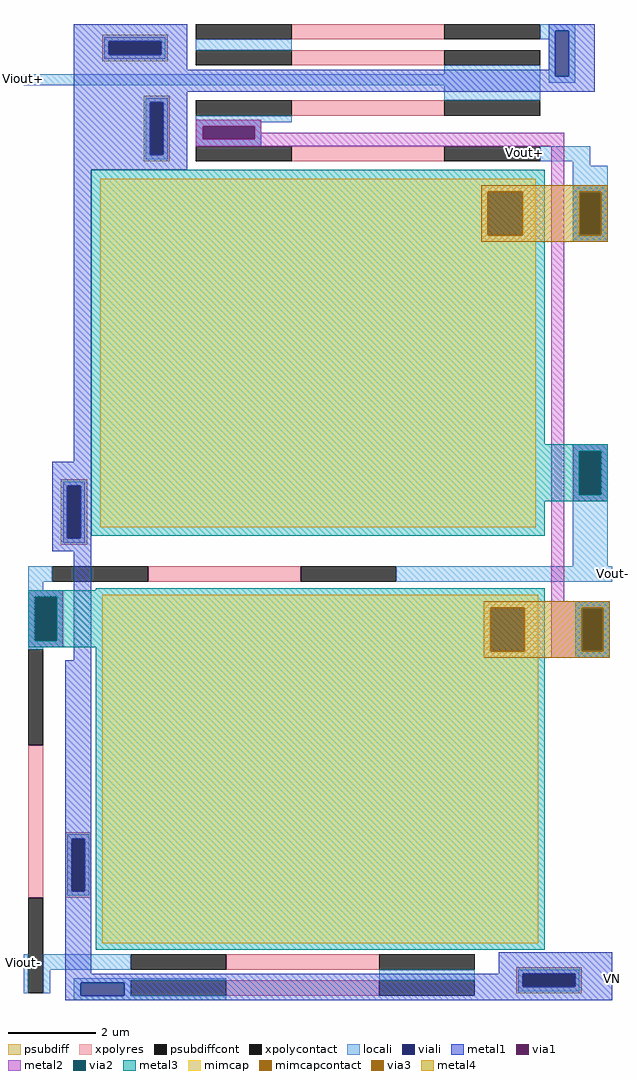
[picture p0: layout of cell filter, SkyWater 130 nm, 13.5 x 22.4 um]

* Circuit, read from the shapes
.subckt filter VN Viout+ Viout- Vout+ Vout-
XC1 Vout+ Vout- sky130_fd_pr__cap_mim_m3_1 w=10 l=8
XC2 n1 n2 sky130_fd_pr__cap_mim_m3_1 w=10 l=8
XR3 n2 Viout- VN sky130_fd_pr__res_xhigh_po w=0.35 l=3.5
XR4 Vout- n2 VN sky130_fd_pr__res_xhigh_po w=0.35 l=3.5
XR5 n3 VN VN sky130_fd_pr__res_xhigh_po w=0.35 l=3.5
XR6 n3 Viout- VN sky130_fd_pr__res_xhigh_po w=0.35 l=3.5
XR7 Vout+ n1 VN sky130_fd_pr__res_xhigh_po w=0.35 l=3.5
XR8 Viout+ n1 VN sky130_fd_pr__res_xhigh_po w=0.35 l=3.5
XR9 Viout+ n4 VN sky130_fd_pr__res_xhigh_po w=0.35 l=3.5
XR10 VN n4 VN sky130_fd_pr__res_xhigh_po w=0.35 l=3.5
.ends

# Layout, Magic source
magic
tech sky130A
<< psubdiff >>
rect 715 2940 865 2955
rect 715 2910 730 2940
rect 850 2910 865 2940
rect 715 2895 865 2910
rect 810 2800 870 2815
rect 810 2680 825 2800
rect 855 2680 870 2800
rect 810 2665 870 2680
rect 620 1920 680 1935
rect 620 1800 635 1920
rect 665 1800 680 1920
rect 620 1785 680 1800
rect 630 1110 690 1125
rect 630 990 645 1110
rect 675 990 690 1110
rect 630 975 690 990
rect 1665 800 1815 815
rect 1665 770 1680 800
rect 1800 770 1815 800
rect 1665 755 1815 770
<< psubdiffcont >>
rect 730 2910 850 2940
rect 825 2680 855 2800
rect 635 1800 665 1920
rect 645 990 675 1110
rect 1680 770 1800 800
<< xpolycontact >>
rect 930 2945 1150 2980
rect 1500 2945 1720 2980
rect 930 2885 1150 2920
rect 1500 2885 1720 2920
rect 930 2770 1150 2805
rect 1500 2770 1720 2805
rect 930 2665 1150 2700
rect 1500 2665 1720 2700
rect 600 1700 820 1735
rect 1170 1700 1390 1735
rect 545 1325 580 1545
rect 545 755 580 975
rect 780 810 1000 845
rect 1350 810 1570 845
rect 780 750 1000 785
rect 1350 750 1570 785
<< xpolyres >>
rect 1150 2945 1500 2980
rect 1150 2885 1500 2920
rect 1150 2770 1500 2805
rect 1150 2665 1500 2700
rect 820 1700 1170 1735
rect 545 975 580 1325
rect 1000 810 1350 845
rect 1000 750 1350 785
<< locali >>
rect 720 2940 860 2950
rect 720 2910 730 2940
rect 850 2910 860 2940
rect 720 2900 860 2910
rect 1720 2965 1800 2980
rect 1720 2945 1755 2965
rect 930 2920 1150 2945
rect 1500 2865 1720 2885
rect 535 2840 1720 2865
rect 1740 2860 1755 2945
rect 1785 2860 1800 2965
rect 1740 2845 1800 2860
rect 815 2800 865 2810
rect 1500 2805 1720 2840
rect 815 2680 825 2800
rect 855 2680 865 2800
rect 815 2670 865 2680
rect 930 2755 1150 2770
rect 930 2745 1080 2755
rect 930 2715 945 2745
rect 1065 2715 1080 2745
rect 930 2700 1080 2715
rect 1720 2665 1835 2700
rect 1795 2655 1835 2665
rect 1795 2595 1875 2655
rect 1795 2495 1810 2595
rect 1860 2495 1875 2595
rect 1795 2480 1875 2495
rect 1795 2000 1875 2015
rect 625 1920 675 1930
rect 625 1800 635 1920
rect 665 1800 675 1920
rect 625 1790 675 1800
rect 1795 1900 1810 2000
rect 1860 1900 1875 2000
rect 1795 1735 1875 1900
rect 545 1700 600 1735
rect 1390 1700 1885 1735
rect 545 1680 580 1700
rect 545 1665 625 1680
rect 545 1565 560 1665
rect 610 1565 625 1665
rect 545 1550 625 1565
rect 1800 1640 1880 1655
rect 545 1545 580 1550
rect 1800 1540 1815 1640
rect 1865 1540 1880 1640
rect 1800 1525 1880 1540
rect 635 1110 685 1120
rect 635 990 645 1110
rect 675 990 685 1110
rect 635 980 685 990
rect 535 755 545 845
rect 580 810 780 845
rect 580 755 595 810
rect 650 785 1000 790
rect 650 780 780 785
rect 650 750 665 780
rect 765 750 780 780
rect 1350 785 1570 810
rect 1670 800 1810 810
rect 1670 770 1680 800
rect 1800 770 1810 800
rect 1670 760 1810 770
rect 650 740 1000 750
<< viali >>
rect 730 2910 850 2940
rect 1755 2860 1785 2965
rect 825 2680 855 2800
rect 945 2715 1065 2745
rect 1810 2495 1860 2595
rect 635 1800 665 1920
rect 1810 1900 1860 2000
rect 560 1565 610 1665
rect 1815 1540 1865 1640
rect 645 990 675 1110
rect 665 750 765 780
rect 1680 770 1800 800
<< metal1 >>
rect 650 2940 910 2980
rect 650 2910 730 2940
rect 850 2910 910 2940
rect 650 2875 910 2910
rect 1740 2965 1845 2980
rect 1740 2875 1755 2965
rect 650 2860 1755 2875
rect 1785 2860 1845 2965
rect 650 2825 1845 2860
rect 650 2800 910 2825
rect 650 2680 825 2800
rect 855 2680 910 2800
rect 930 2745 1080 2760
rect 930 2715 945 2745
rect 1065 2715 1080 2745
rect 930 2700 1080 2715
rect 650 2645 910 2680
rect 650 1975 690 2645
rect 1795 2595 1875 2610
rect 1795 2495 1810 2595
rect 1860 2495 1875 2595
rect 1795 2480 1875 2495
rect 600 1920 690 1975
rect 600 1800 635 1920
rect 665 1800 690 1920
rect 1795 2000 1875 2015
rect 1795 1900 1810 2000
rect 1860 1900 1875 2000
rect 1795 1885 1875 1900
rect 600 1770 690 1800
rect 545 1665 625 1680
rect 545 1565 560 1665
rect 610 1565 625 1665
rect 545 1550 625 1565
rect 650 1520 690 1770
rect 1800 1640 1880 1655
rect 1800 1540 1815 1640
rect 1865 1540 1880 1640
rect 1800 1525 1880 1540
rect 630 1110 690 1520
rect 630 990 645 1110
rect 675 990 690 1110
rect 630 800 690 990
rect 1625 800 1885 850
rect 630 780 1680 800
rect 630 750 665 780
rect 765 770 1680 780
rect 1800 770 1885 800
rect 765 750 1885 770
rect 630 740 1885 750
<< via1 >>
rect 945 2715 1065 2745
rect 1810 2495 1860 2595
rect 1810 1900 1860 2000
rect 560 1565 610 1665
rect 1815 1540 1865 1640
<< metal2 >>
rect 930 2745 1080 2760
rect 930 2715 945 2745
rect 1065 2730 1080 2745
rect 1065 2715 1775 2730
rect 930 2700 1775 2715
rect 545 1665 625 1680
rect 545 1565 560 1665
rect 610 1565 625 1665
rect 545 1550 625 1565
rect 1745 1655 1775 2700
rect 1795 2595 1875 2610
rect 1795 2495 1810 2595
rect 1860 2495 1875 2595
rect 1795 2480 1875 2495
rect 1795 2000 1875 2015
rect 1795 1900 1810 2000
rect 1860 1900 1875 2000
rect 1795 1885 1875 1900
rect 1745 1640 1880 1655
rect 1745 1540 1815 1640
rect 1865 1540 1880 1640
rect 1745 1525 1880 1540
<< via2 >>
rect 560 1565 610 1665
rect 1810 2495 1860 2595
rect 1810 1900 1860 2000
rect 1815 1540 1865 1640
<< metal3 >>
rect 690 2015 1730 2645
rect 1795 2595 1875 2610
rect 1795 2495 1810 2595
rect 1860 2495 1875 2595
rect 1795 2480 1875 2495
rect 690 2000 1875 2015
rect 690 1900 1810 2000
rect 1860 1900 1875 2000
rect 690 1885 1875 1900
rect 690 1805 1730 1885
rect 700 1680 1730 1685
rect 545 1665 1730 1680
rect 545 1565 560 1665
rect 610 1565 1730 1665
rect 545 1550 1730 1565
rect 700 855 1730 1550
rect 1800 1640 1880 1655
rect 1800 1540 1815 1640
rect 1865 1540 1880 1640
rect 1800 1525 1880 1540
<< via3 >>
rect 1810 2495 1860 2595
rect 1815 1540 1865 1640
<< mimcap >>
rect 710 2595 1710 2625
rect 710 2495 1600 2595
rect 1680 2495 1710 2595
rect 710 1825 1710 2495
rect 715 1640 1715 1670
rect 715 1540 1605 1640
rect 1685 1540 1715 1640
rect 715 870 1715 1540
<< mimcapcontact >>
rect 1600 2495 1680 2595
rect 1605 1540 1685 1640
<< metal4 >>
rect 1585 2595 1875 2610
rect 1585 2495 1600 2595
rect 1680 2495 1810 2595
rect 1860 2495 1875 2595
rect 1585 2480 1875 2495
rect 1590 1640 1880 1655
rect 1590 1540 1605 1640
rect 1685 1540 1815 1640
rect 1865 1540 1880 1640
rect 1590 1525 1880 1540
<< labels >>
rlabel locali 1885 1720 1885 1720 3 Vout-
rlabel locali 535 825 535 825 7 Viout-
rlabel locali 535 2855 535 2855 7 Viout+
rlabel xpolycontact 1685 2685 1685 2685 3 Vout+
rlabel metal1 1885 790 1885 790 3 VN
<< end >>
